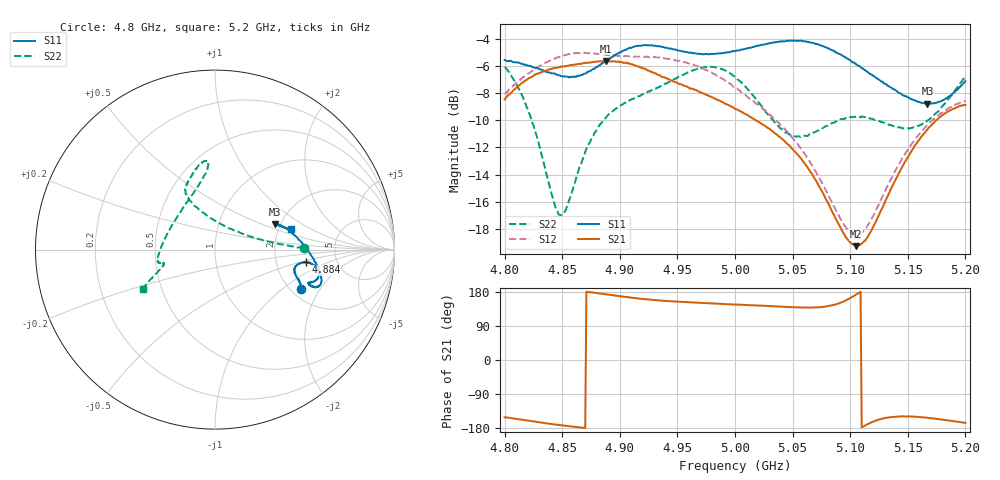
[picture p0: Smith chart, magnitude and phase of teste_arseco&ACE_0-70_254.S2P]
! Network Analyzer HP8722D
! Hewlett-Packard
! Data name: Linha & Wilkinson
! Saver's name: Rodrigo Anjos
! Comments: Teste da utilização de aquisição
! continua pelo VNA HP8722D
! Time and date: 8/5/2025 14:52
!  Frequency  S11  S21  S12  S22
# HZ  S  MA R 50
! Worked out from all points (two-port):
!   401 points, 4.8 GHz to 5.2 GHz, reference 50 ohm
!   highest |S21| = -5.65 dB at 4.888 GHz (marker M1); lowest = -19.3 dB at 5.105 GHz (marker M2)
!   |S21| within 3 dB of the highest: start of sweep to 4.989 GHz
!   lowest |S11| = -8.8 dB at 5.167 GHz (marker M3), VSWR 2.14, Z = 93.5 + j30.8 ohm
!   |S11| at or under -10 dB: nowhere
!   |S22| runs from -17.0 to -6.1 dB; largest |S21 - S12| = 1.1
!   S11 on the Smith chart (normalised r, x): 4.8 GHz: 2.24, -1.38; 4.884 GHz: 2.95, -0.57; 5.2 GHz: 2.35, +0.65
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4.8e9  0.5261 -25.0  0.3772 -151.3  0.3946 8.6  0.4939 1.0
4.811e9  0.5154 -22.4  0.4198 -155.8  0.4388 6.8  0.4223 2.7
4.821e9  0.5013 -20.2  0.4517 -160.3  0.4705 5.2  0.3376 6.3
4.847e9  0.4624 -16.1  0.4953 -171.5  0.5395 1.1  0.1422 55.8
4.853e9  0.4581 -14.5  0.4989 -173.7  0.5497 0.0  0.1481 79.5
4.867e9  0.4641 -10.5  0.5101 -178.8  0.5576 -1.9  0.2226 109.4
4.884e9  0.5094 -8.0  0.5209 175.1  0.5514 -2.9  0.3089 117.2
4.888e9  0.5226 -8.1  0.522 173.5  0.5485 -3.2  0.323 117.5
4.913e9  0.5899 -11.8  0.5028 163.5  0.5422 -2.4  0.3824 115.2
4.934e9  0.5911 -16.5  0.4627 157.1  0.5384 -3.1  0.4182 109.5
4.975e9  0.5541 -19.7  0.3914 149.9  0.484 -6.6  0.4958 97.0
5e9  0.5668 -20.6  0.3477 146.4  0.4186 -6.7  0.457 95.3
5.043e9  0.6159 -18.7  0.265 140.4  0.2943 1.5  0.2872 130.7
5.067e9  0.609 -14.1  0.2001 138.6  0.2159 8.8  0.2822 165.2
5.094e9  0.5432 -4.2  0.1218 154.0  0.132 33.6  0.3191 -172.8
5.105e9  0.5078 0.8  0.109 172.5  0.1194 54.6  0.3246 -169.1
5.115e9  0.4759 6.2  0.1177 -169.5  0.1295 74.0  0.3228 -167.2
5.134e9  0.4204 15.4  0.1717 -151.2  0.1867 94.4  0.3033 -166.0
5.15e9  0.384 21.3  0.2314 -148.9  0.2458 99.3  0.2953 -164.6
5.167e9  0.3632 23.2  0.2922 -152.5  0.3035 100.5  0.3151 -161.1
5.183e9  0.3793 20.7  0.3362 -158.6  0.345 100.4  0.3678 -157.1
5.2e9  0.4397 14.8  0.3593 -165.9  0.3732 100.9  0.4589 -151.2
